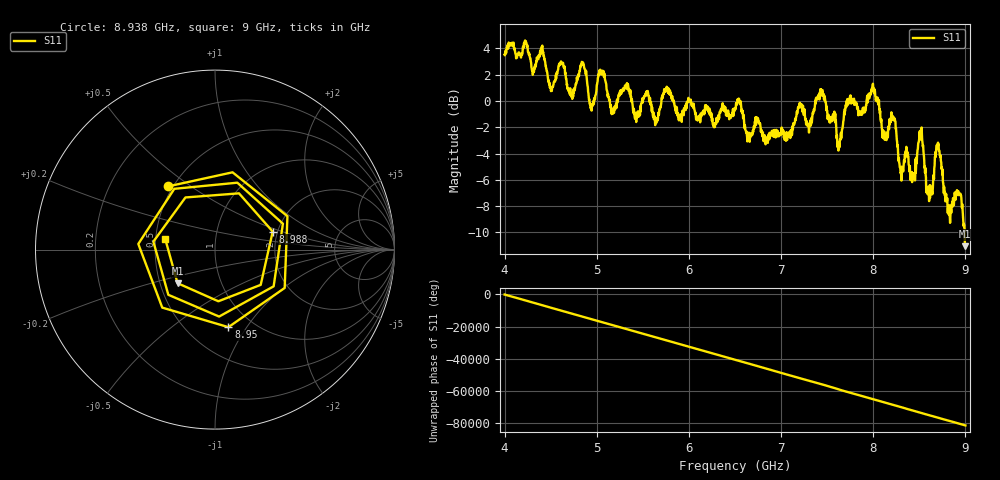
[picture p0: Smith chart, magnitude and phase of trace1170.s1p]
! Created with skrf 1.8.0 (http://scikit-rf.org).
# Hz S RI R 50.0
!freq ReS11 ImS11
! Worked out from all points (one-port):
!   1601 points, 4 GHz to 9 GHz, reference 50 ohm
!   lowest |S11| = -11.0 dB at 8.997 GHz (marker M1), VSWR 1.78, Z = 30.8 - j12.5 ohm
!   |S11| at or under -10 dB: 8.991466 GHz to end of sweep
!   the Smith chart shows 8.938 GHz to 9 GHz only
!   S11 on the Smith chart (normalised r, x): 8.938 GHz: 0.47, +0.41; 8.95 GHz: 0.77, -0.83; 8.988 GHz: 1.88, +0.43; 9 GHz: 0.56, +0.07
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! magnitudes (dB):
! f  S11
! 4 GHz  3.5
! 4.406 GHz  4.1
! 4.506 GHz  0.9
! 4.625 GHz  2.8
! 4.719 GHz  0.6
! 4.853 GHz  2.9
! 4.944 GHz  -0.7
! 5.05 GHz  2.0
! 5.169 GHz  -0.9
! 5.25 GHz  0.7
! 5.875 GHz  -1.1
! 6.5 GHz  -0.7
! 7.125 GHz  -1.9
! 7.444 GHz  0.7
! 7.628 GHz  -3.2
! 7.75 GHz  0.2
! 8 GHz  1.0
! 8.375 GHz  -4.2
! 8.431 GHz  -5.8
! 8.519 GHz  -2.4
! 8.616 GHz  -7.4
! 8.706 GHz  -3.4
! 8.822 GHz  -8.7
! 8.938 GHz  -7.1
! 8.95 GHz  -7.2
! 8.988 GHz  -9.5
! 8.997 GHz  -11.0
! 9 GHz  -10.9
